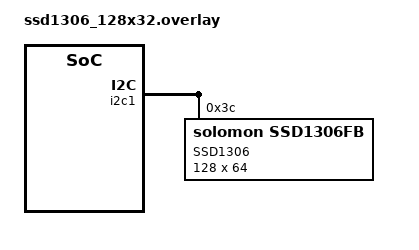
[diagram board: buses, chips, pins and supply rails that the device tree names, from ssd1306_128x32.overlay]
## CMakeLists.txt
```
# SPDX-License-Identifier: Apache-2.0
set(CONF_FILE segger_rtt.conf sensors.conf shell.conf display.conf app.conf)
set(DTC_OVERLAY_FILE ssd1306_128x64.overlay)
set(BOARD thingy52_nrf52832)


cmake_minimum_required(VERSION 3.20.0)
find_package(Zephyr REQUIRED HINTS $ENV{ZEPHYR_BASE})
project(climate_sens)

#Add Include Directories
include_directories(
			lib/sens/
            lib/display_ctl/
			)

target_sources(app PRIVATE src/main.c
                            lib/sens/sens.c
                            lib/sens/battery.c
                            lib/display_ctl/display_ctl.c
                            )
```

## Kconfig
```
# GENERAL CONFIG OPTIONS

config APP_OBS_NUMBER
    bool "Log sample observation count"
    default n

# CCS811 CONFIG OPTIONS

config CCS811_VERBOSE
	bool "Log ccs811 verbose"
	default n

config APP_MONITOR_BASELINE
	bool "Display BASELINE register value for each sample"
	default n

config APP_USE_DEF_ENVDATA
	bool "Program CCS811 with fixed environmental parameters"
	default n

config APP_ENV_TEMPERATURE
	int "Environment temperature for CCS811, Cel"
	default 25
	depends on APP_USE_DEF_ENVDATA

config APP_ENV_HUMIDITY
	int "Environment humidity for CCS811, %RH"
	default 50
	depends on APP_USE_DEF_ENVDATA

config DEBUG_BLINKY
	bool "Debug LED Status"
	default n

source "Kconfig.zephyr"
```

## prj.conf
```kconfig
CONFIG_GPIO=y
CONFIG_FLOAT=y
```

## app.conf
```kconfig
#-----------------------------APP CONFIGS--------------------------------------#
CONFIG_DEBUG_BLINKY=n
#------------------------------------------------------------------------------#
```

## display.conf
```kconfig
#-----------------------------SSD1306--------------------------------------
CONFIG_I2C=y
CONFIG_SSD1306=y
CONFIG_SSD1306_SH1106_COMPATIBLE=y
CONFIG_SSD1306_REVERSE_MODE=y
CONFIG_HEAP_MEM_POOL_SIZE=16384
CONFIG_DISPLAY=y


# CFB
CONFIG_CFB_LOG_LEVEL_DBG=y
CONFIG_CHARACTER_FRAMEBUFFER=y
#-----------------------------------------------------------------------------
```

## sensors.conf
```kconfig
#-----------------------------RTT_CONFIG--------------------------------------
CONFIG_I2C=y
CONFIG_SENSOR=y

CONFIG_HTS221=y
CONFIG_HTS221_TRIGGER_NONE=y
CONFIG_LIS2DH=y

CONFIG_LPS22HB=y
CONFIG_CCS811=y

CONFIG_GPIO=y
CONFIG_ADC=y
CONFIG_NEWLIB_LIBC=y
CONFIG_CBPRINTF_FP_SUPPORT=y
#-----------------------------------------------------------------------------
```

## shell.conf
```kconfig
#-----------------------------SHELL_CONF--------------------------------------
CONFIG_SHELL_BACKEND_SERIAL_CHECK_DTR=y
CONFIG_UART_LINE_CTRL=y
CONFIG_SHELL_BACKEND_SERIAL_INIT_PRIORITY=51
CONFIG_SHELL=y
CONFIG_SHELL_BACKENDS=y
CONFIG_SHELL_BACKEND_SERIAL=y

CONFIG_SHELL_PROMPT_RTT="climate_sens>"

CONFIG_SHELL_CMDS=y
CONFIG_SHELL_TAB=y
CONFIG_SHELL_TAB_AUTOCOMPLETION=y
CONFIG_SHELL_VT100_COLORS=y
CONFIG_KERNEL_SHELL=y
#-----------------------------------------------------------------------------

#-----------------------------SHELL_LOGGING-----------------------------------
CONFIG_LOG=y
CONFIG_LOG_PRINTK=y
#-----------------------------------------------------------------------------
```

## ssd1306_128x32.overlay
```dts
/*
 * Copyright (c) 2019 PHYTEC Messtechnik GmbH
 *
 * SPDX-License-Identifier: Apache-2.0
 */
/ {
	chosen {
		zephyr,display = &ssd1306;
	};
};

&i2c1 {
	status = "okay";
    zephyr,concat-buf-size = <2048>;

	ssd1306: ssd1306@3c {
		compatible = "solomon,ssd1306fb";
		reg = <0x3c>;
		label = "SSD1306";
		width = <128>;
		height = <64>;
		segment-offset = <0>;
		page-offset = <0>;
		display-offset = <0>;
		multiplex-ratio = <63>;
		segment-remap;
		com-invdir;
		prechargep = <0x22>;
	};
};
```

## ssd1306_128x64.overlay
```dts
/*
 * ssd1306_128x64 device overlay
 */
/ {
	chosen {
		zephyr,display = &ssd1306;
	};
};

&i2c1 {
	status = "okay";
    zephyr,concat-buf-size = <2048>;

	ssd1306: ssd1306@3c {
		compatible = "solomon,ssd1306fb";
		reg = <0x3c>;
		label = "SSD1306";
		width = <128>;
		height = <64>;
		segment-offset = <0>;
		page-offset = <0>;
		display-offset = <0>;
		multiplex-ratio = <63>;
		segment-remap;
		com-invdir;
		prechargep = <0x22>;
	};
};
```

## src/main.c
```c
/**
 * @file main.c
 * @author Wilfred Mallawa
 * @brief Mini application to monitor climate metrics using the
 * 		  thingy52 interfaced with an ssd1305 (128x64-OLED) display
 * 		  to display metrics in real time.
 *
 * @version 0.1
 * @date 2022-06-23
 *
 */
#include <zephyr/zephyr.h>
#include <zephyr/drivers/gpio.h>
#include <zephyr/logging/log.h>
#include "sens.h"
#include "display_ctl.h"

LOG_MODULE_REGISTER(core, CONFIG_LOG_DEFAULT_LEVEL);

/* Thread Data */
/* Display control thread data */
struct k_thread disp_t_data = {0};
k_tid_t disp_tid = {0};
K_THREAD_STACK_DEFINE(disp_t_stack_area, DISP_T_STACK_SIZE);
/* Sensor control thread data */
struct k_thread sens_t_data = {0};
k_tid_t sens_tid = {0};
K_THREAD_STACK_DEFINE(sens_t_stack_area, SENS_T_STACK_SIZE);

/* 1000 msec = 1 sec */
#define SLEEP_TIME_MS   1000

/* The devicetree node identifier for the "ledx" alias. */
#define LED0_NODE DT_ALIAS(led0)
#define LED2_NODE DT_ALIAS(led2)

static const struct gpio_dt_spec led1 = GPIO_DT_SPEC_GET(LED0_NODE, gpios);
static const struct gpio_dt_spec led2 = GPIO_DT_SPEC_GET(LED2_NODE, gpios);


int thread_init(void) {
	sens_tid = k_thread_create(&sens_t_data, sens_t_stack_area,
                                 K_THREAD_STACK_SIZEOF(sens_t_stack_area),
                                 sens_thread,
                                 NULL, NULL, NULL,
                                 SENS_T_PRIOR, 0, K_NO_WAIT);

	disp_tid = k_thread_create(&disp_t_data, disp_t_stack_area,
                                 K_THREAD_STACK_SIZEOF(disp_t_stack_area),
                                 disp_ctl_thread,
                                 NULL, NULL, NULL,
                                 DISP_T_PRIOR, 0, K_NO_WAIT);

	LOG_INF("Sys threads init OK");
	return 0;
}

/*
 * Main thread, serves to blink the debug_led
 */
void main(void)
{
	/* Init systhreads */
	thread_init();

#ifndef CONFIG_DEBUG_BLINKY
	return;
#endif

	LOG_DBG("Init debug leds");

	if (!device_is_ready(led1.port) || !device_is_ready(led2.port)) {
		LOG_ERR("Debug led device error");
		return;
	}

	if (gpio_pin_configure_dt(&led1, GPIO_OUTPUT_ACTIVE) || gpio_pin_configure_dt(&led2, GPIO_OUTPUT_ACTIVE)) {
		LOG_ERR("Debug led gpio error");
		return;
	}

	while (1) {
		if (gpio_pin_toggle_dt(&led1) || gpio_pin_toggle_dt(&led2)) {
			return;
		}
		k_msleep(SLEEP_TIME_MS);
	}
}
```
